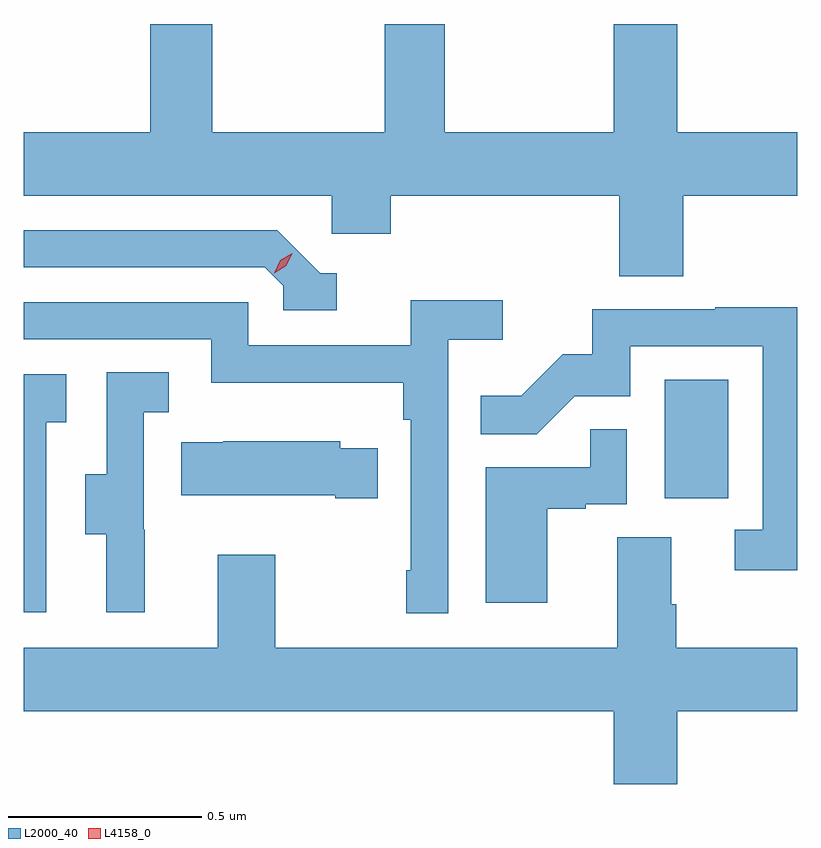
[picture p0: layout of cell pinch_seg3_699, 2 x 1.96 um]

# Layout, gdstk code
import gdstk
lib = gdstk.Library(unit=1e-6, precision=1e-09)
def R(c, l, rs):  # rectangles x0, y0, x1, y1
    for r in rs: c.add(gdstk.rectangle(r[:2], r[2:], *l))
def P(c, l, *ps):  # polygons
    for p in ps: c.add(gdstk.Polygon(p, *l))
L2000_40 = (2000, 40)
L4158_0 = (4158, 0)

pinch_seg3_699 = lib.new_cell('pinch_seg3_699')
R(pinch_seg3_699, L2000_40, [(1124.18,668.166,1124.344,668.473)])
P(pinch_seg3_699, L2000_40, [(1124.228,668.948),(1124.523,668.948),(1124.523,669.112),(1124.212,669.112),(1124.212,669.392),(1124.048,669.392),(1124.048,669.112),(1123.611,669.112),(1123.611,669.392),(1123.456,669.392),(1123.456,669.112),(1123.011,669.112),(1123.011,669.392),(1122.851,669.392),(1122.851,669.112),(1122.523,669.112),(1122.523,668.948),(1123.32,668.948),(1123.32,668.85),(1123.472,668.85),(1123.472,668.948),(1124.063,668.948),(1124.063,668.74),(1124.228,668.74)],
  [(1123.333,668.748),(1123.29,668.748),(1123.179,668.859),(1122.523,668.859),(1122.523,668.763),(1123.146,668.763),(1123.194,668.715),(1123.194,668.652),(1123.333,668.652)],
  [(1123.62,668.576),(1123.762,668.576),(1123.762,668.678),(1123.523,668.678),(1123.523,668.562),(1123.104,668.562),(1123.104,668.673),(1122.523,668.673),(1122.523,668.577),(1123.008,668.577),(1123.008,668.465),(1123.504,668.465),(1123.504,668.369),(1123.524,668.369),(1123.524,667.981),(1123.512,667.981),(1123.512,667.869),(1123.62,667.869)],
  [(1124.523,668.66),(1124.311,668.66),(1124.311,668.655),(1123.993,668.655),(1123.993,668.538),(1123.916,668.538),(1123.809,668.431),(1123.705,668.431),(1123.705,668.332),(1123.849,668.332),(1123.947,668.43),(1124.091,668.43),(1124.091,668.559),(1124.433,668.559),(1124.433,668.085),(1124.361,668.085),(1124.361,667.98),(1124.523,667.98)],
  [(1122.836,668.085),(1122.834,668.085),(1122.834,668.389),(1122.898,668.389),(1122.898,668.492),(1122.738,668.492),(1122.738,668.229),(1122.683,668.229),(1122.683,668.074),(1122.737,668.074),(1122.737,667.872),(1122.836,667.872)],
  [(1122.582,668.363),(1122.634,668.363),(1122.634,668.487),(1122.523,668.487),(1122.523,667.872),(1122.582,667.872)],
  [(1123.876,668.139),(1123.976,668.139),(1123.976,668.151),(1124.082,668.151),(1124.082,668.345),(1123.987,668.345),(1123.987,668.247),(1123.718,668.247),(1123.718,667.896),(1123.876,667.896)],
  [(1123.439,668.296),(1123.341,668.296),(1123.341,668.314),(1123.039,668.314),(1123.039,668.311),(1122.931,668.311),(1122.931,668.174),(1123.328,668.174),(1123.328,668.167),(1123.439,668.167)],
  [(1124.212,667.616),(1124.523,667.616),(1124.523,667.78),(1124.21,667.78),(1124.21,667.892),(1124.197,667.892),(1124.197,668.066),(1124.057,668.066),(1124.057,667.78),(1123.173,667.78),(1123.173,668.02),(1123.025,668.02),(1123.025,667.78),(1122.523,667.78),(1122.523,667.616),(1124.048,667.616),(1124.048,667.428),(1124.212,667.428)])
P(pinch_seg3_699, L4158_0, [(1123.171,668.748),(1123.171,668.748),(1123.187,668.781),(1123.218,668.8),(1123.218,668.8),(1123.218,668.8),(1123.202,668.767),(1123.171,668.748)])

lib.write_gds('pinch_seg3_699.gds')
